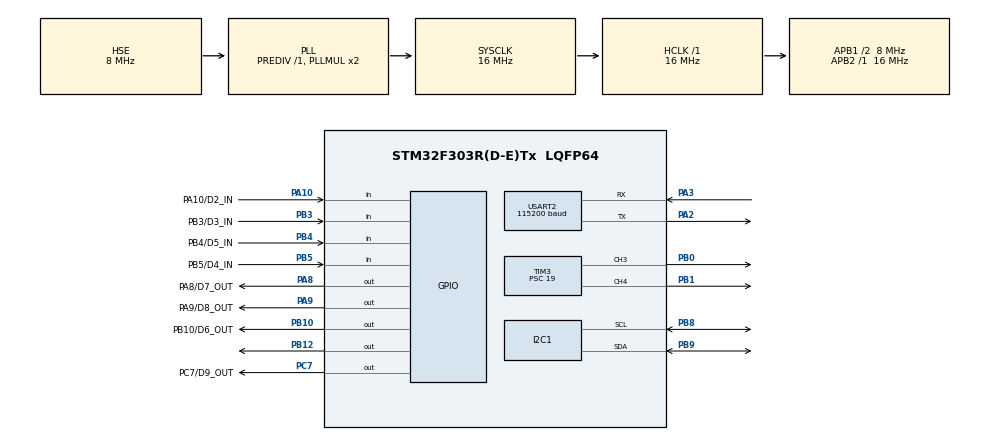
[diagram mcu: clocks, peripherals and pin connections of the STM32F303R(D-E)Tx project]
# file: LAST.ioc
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I2C1.Timing=0x2000090E
Mcu.Family=STM32F3
Mcu.Name=STM32F303R(D-E)Tx
Mcu.Package=LQFP64
NVIC.PriorityGroup=NVIC_PRIORITYGROUP_4
PA10.GPIO_Label=PA10/D2_IN
PA10.GPIO_PuPd=GPIO_PULLUP
PA10.Signal=GPIO_Input
PA13.Mode=Serial_Wire
PA13.Signal=SYS_JTMS-SWDIO
PA14.Mode=Serial_Wire
PA14.Signal=SYS_JTCK-SWCLK
PA2.Mode=Asynchronous
PA2.Signal=USART2_TX
PA3.Mode=Asynchronous
PA3.Signal=USART2_RX
PA8.GPIO_Label=PA8/D7_OUT
PA8.Signal=GPIO_Output
PA9.GPIO_Label=PA9/D8_OUT
PA9.Signal=GPIO_Output
PB0.Signal=S_TIM3_CH3
PB1.Signal=S_TIM3_CH4
PB10.GPIO_Label=PB10/D6_OUT
PB10.Signal=GPIO_Output
PB12.Signal=GPIO_Output
PB3.GPIO_Label=PB3/D3_IN
PB3.GPIO_PuPd=GPIO_PULLUP
PB3.Signal=GPIO_Input
PB4.GPIO_Label=PB4/D5_IN
PB4.GPIO_PuPd=GPIO_PULLUP
PB4.Signal=GPIO_Input
PB5.GPIO_Label=PB5/D4_IN
PB5.GPIO_PuPd=GPIO_PULLUP
PB5.Signal=GPIO_Input
PB8.Mode=I2C
PB8.Signal=I2C1_SCL
PB9.Mode=I2C
PB9.Signal=I2C1_SDA
PC7.GPIO_Label=PC7/D9_OUT
PC7.Signal=GPIO_Output
PF0-OSC_IN.Mode=HSE-External-Oscillator
PF0-OSC_IN.Signal=RCC_OSC_IN
PF1-OSC_OUT.Mode=HSE-External-Oscillator
PF1-OSC_OUT.Signal=RCC_OSC_OUT
ProjectManager.HeapSize=0x200
ProjectManager.StackSize=0x400
ProjectManager.TargetToolchain=STM32CubeIDE
RCC.AHBFreq_Value=16000000
RCC.APB1CLKDivider=RCC_HCLK_DIV2
RCC.APB1Freq_Value=8000000
RCC.APB1TimFreq_Value=16000000
RCC.APB2Freq_Value=16000000
RCC.APB2TimFreq_Value=16000000
RCC.CortexFreq_Value=16000000
RCC.HCLKFreq_Value=16000000
RCC.HSE_VALUE=8000000
RCC.HSI_VALUE=8000000
RCC.LSE_VALUE=32768
RCC.PLLSourceVirtual=RCC_PLLSOURCE_HSE
RCC.SYSCLKFreq_VALUE=16000000
RCC.SYSCLKSourceVirtual=RCC_SYSCLKSOURCE_PLLCLK
RCC.USBFreq_Value=16000000
SH.S_TIM3_CH3.0=TIM3_CH3,PWM Generation3 CH3
SH.S_TIM3_CH4.0=TIM3_CH4,PWM Generation4 CH4
TIM3.Channel-PWM\ Generation3\ CH3=TIM_CHANNEL_3
TIM3.Channel-PWM\ Generation4\ CH4=TIM_CHANNEL_4
TIM3.Period=1000
TIM3.Prescaler=19
USART2.BaudRate=115200
USART2.VirtualMode-Asynchronous=VM_ASYNC
VP_TIM3_VS_ClockSourceINT.Mode=Internal
board=custom

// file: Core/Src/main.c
/* USER CODE BEGIN Header */
/**
  ******************************************************************************
  * @file           : main.c
  * @brief          : Main program body
  ******************************************************************************
  * @attention
  *
  * Copyright (c) 2025 STMicroelectronics.
  * All rights reserved.
  *
  * This software is licensed under terms that can be found in the LICENSE file
  * in the root directory of this software component.
  * If no LICENSE file comes with this software, it is provided AS-IS.
  *
  ******************************************************************************
  */
/* USER CODE END Header */
#include "main.h"
#include "i2c.h"
#include "tim.h"
#include "usart.h"
#include "gpio.h"
#include <stdio.h>
#include "mpu6050.h"
#include "pid.h"
#include "math.h"
#include "state_machine.h"

void SystemClock_Config(void);
 void MX_GPIO_Init(void);
 void MX_I2C1_Init(void);
 void MX_USART2_UART_Init(void);
 void MX_TIM3_Init(void);

/* USER CODE BEGIN 0 */
 int __io_putchar(int ch)
 {
   HAL_UART_Transmit(&huart2,(uint8_t*)&ch,1,HAL_MAX_DELAY);
   return ch;
 }
/* USER CODE END 0 */

int main(void)
{

  /* MCU Configuration--------------------------------------------------------*/

  /* Reset of all peripherals, Initializes the Flash interface and the Systick. */
  HAL_Init();

  /* Configure the system clock */
  SystemClock_Config();

  /* Initialize all configured peripherals */
  MX_GPIO_Init();
  MX_I2C1_Init();
  MX_TIM3_Init();
  MX_USART2_UART_Init();

  /* Infinite loop */
  /* USER CODE BEGIN WHILE */
  /* Initialize IMU (Gyroscope and Accelerometer) */
  mpu6050_init();
  gyro_data gyro;
  accel_data accel;

  /* Set up a variable to keep track of motor direction switches */
  int toggle = 0;

  /* Upright Position */
  const float set_pitch = 0.0f;

  /* Set up PID Controller and gain constants for tuning. */
  PIDController controller;
  controller.kp = 47.25f;
  controller.ki = 26.5f;
  controller.kd = 0.2f;
  controller.sampling_time = 500;
  PIDController_Init(&controller);

  /* Turn on Channel 3 motor at 100% duty cycle */
  HAL_GPIO_WritePin(GPIOA, PA9_D8_OUT_Pin, GPIO_PIN_SET);
  HAL_GPIO_WritePin(PC7_D9_OUT_GPIO_Port, PC7_D9_OUT_Pin, GPIO_PIN_RESET);

  /* Turn on Channel 4 motor at 100% duty cycle */
  HAL_GPIO_WritePin(GPIOA, PA8_D7_OUT_Pin, GPIO_PIN_SET);
  HAL_GPIO_WritePin(PB10_D6_OUT_GPIO_Port, PB10_D6_OUT_Pin, GPIO_PIN_RESET);

  /* Start Timer and its channels for the motor driver */
  HAL_TIM_Base_Start(&htim3);
  HAL_TIM_PWM_Start(&htim3, TIM_CHANNEL_3);
  HAL_TIM_Base_Start(&htim3);
  HAL_TIM_PWM_Start(&htim3, TIM_CHANNEL_4);

  HAL_GPIO_WritePin(GPIOB, GPIO_PIN_12, 1);	//stdby

  /* Configure default robot state */
  Robot_State state = ROBOT_IDLE;

  /* Begin Control loop */
  while (1)
  {
	/* Capture gyroscope and accelerometer measurements */
	mpu6050_read_accel(&accel);
	mpu6050_read_gyro(&gyro);

	/* Update motor output based on the captured pitch angle */
	PIDController_Update(&controller, set_pitch, accel.pitch_angle);

	/* State Machine Implementation */
	/* This state machine is to ensure that the robot moves in the correct
	   direction as it receives new PID outputs. */
	switch(state)
	{
	  case ROBOT_IDLE:
		state = ROBOT_START;
		break;
	  case ROBOT_START:
		// Determine which state to enter next
		state = robot_start_state(&accel);
		break;
	  case ROBOT_FORWARD:
		// Move the robot backward
		state = robot_forward_state(&accel, &toggle);
		break;
	  case ROBOT_BACKWARD:
		// Move the robot forward
		state = robot_backward_state(&accel, &toggle);
		break;
	  case ROBOT_STOP:
		// Stop all motors
		state = robot_stopped_state(&htim3);
		break;
	  case ROBOT_BALANCED:
		break;
	  default:
		break;
	}

	/* Change the motor duty cycle based on PID outputs */
	__HAL_TIM_SET_COMPARE(&htim3,TIM_CHANNEL_3, controller.motor_output);
	__HAL_TIM_SET_COMPARE(&htim3,TIM_CHANNEL_4, controller.motor_output);

	printf("PITCH ANGLE: %.2f MOTOR OUTPUT: %.2f TOGGLE: %d\n\r ", accel.pitch_angle, controller.motor_output, toggle);
	printf("Proportional %.2f Derivative %.2f Integral: %.2f\n\r ", controller.proportional, controller.derivative, controller.integral);
	HAL_Delay(100);
  }
  /* USER CODE END 3 */
    /* USER CODE END WHILE */

  }

void SystemClock_Config(void)
{
  RCC_OscInitTypeDef RCC_OscInitStruct = {0};
  RCC_ClkInitTypeDef RCC_ClkInitStruct = {0};
  RCC_PeriphCLKInitTypeDef PeriphClkInit = {0};

  /** Initializes the RCC Oscillators according to the specified parameters
  * in the RCC_OscInitTypeDef structure.
  */
  RCC_OscInitStruct.OscillatorType = RCC_OSCILLATORTYPE_HSI|RCC_OSCILLATORTYPE_HSE;
  RCC_OscInitStruct.HSEState = RCC_HSE_ON;
  RCC_OscInitStruct.HSIState = RCC_HSI_ON;
  RCC_OscInitStruct.HSICalibrationValue = RCC_HSICALIBRATION_DEFAULT;
  RCC_OscInitStruct.PLL.PLLState = RCC_PLL_ON;
  RCC_OscInitStruct.PLL.PLLSource = RCC_PLLSOURCE_HSE;
  RCC_OscInitStruct.PLL.PLLMUL = RCC_PLL_MUL2;
  RCC_OscInitStruct.PLL.PREDIV = RCC_PREDIV_DIV1;
  if (HAL_RCC_OscConfig(&RCC_OscInitStruct) != HAL_OK)
  {
    Error_Handler();
  }

  /** Initializes the CPU, AHB and APB buses clocks
  */
  RCC_ClkInitStruct.ClockType = RCC_CLOCKTYPE_HCLK|RCC_CLOCKTYPE_SYSCLK
                              |RCC_CLOCKTYPE_PCLK1|RCC_CLOCKTYPE_PCLK2;
  RCC_ClkInitStruct.SYSCLKSource = RCC_SYSCLKSOURCE_PLLCLK;
  RCC_ClkInitStruct.AHBCLKDivider = RCC_SYSCLK_DIV1;
  RCC_ClkInitStruct.APB1CLKDivider = RCC_HCLK_DIV2;
  RCC_ClkInitStruct.APB2CLKDivider = RCC_HCLK_DIV1;

  if (HAL_RCC_ClockConfig(&RCC_ClkInitStruct, FLASH_LATENCY_0) != HAL_OK)
  {
    Error_Handler();
  }
  PeriphClkInit.PeriphClockSelection = RCC_PERIPHCLK_USART2|RCC_PERIPHCLK_I2C1
                              |RCC_PERIPHCLK_TIM34;
  PeriphClkInit.Usart2ClockSelection = RCC_USART2CLKSOURCE_PCLK1;
  PeriphClkInit.I2c1ClockSelection = RCC_I2C1CLKSOURCE_HSI;
  PeriphClkInit.Tim34ClockSelection = RCC_TIM34CLK_HCLK;
  if (HAL_RCCEx_PeriphCLKConfig(&PeriphClkInit) != HAL_OK)
  {
    Error_Handler();
  }
}

void Error_Handler(void)
{
  __disable_irq();
  while (1)
  {
  }
}
